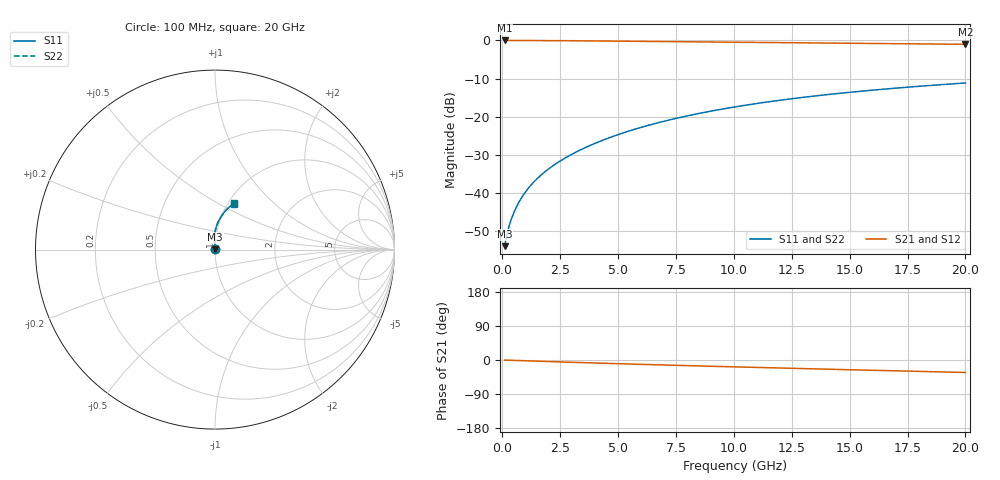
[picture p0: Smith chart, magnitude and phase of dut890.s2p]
! Touchstone file exported from HFSS 2024.1.0
!  File:  C:/UserFiles/LocalFiles/RDL_TSV_Batchsim/temp_RDL_top_890_1779857194.aedt
!  Generated:  12:48:18 PM May 27, 2026
!  Design:  RDL_top
!  Project:  temp_RDL_top_890_1779857194
!  Setup:  Setup1
!  Solution:  Sweep
! Variables:
!  dtsv = 10.80580581um
!  hbump = 3um
!  htsv = 70.97um
!  ldown = 100um
!  lrdl = 469.64um
!  p = 40
!  p1 = 55.84um
!  rhole = 1um
!  t = 450um
!  tdown = 3.915915916um
!  trdl = 4.03um
!  wdown = 15.38538539um
!  wrdl = 29.26um
# GHz S MA R 50.000000
! Terminal data exported
! Port[1] = Box2_T1
! Port[2] = Box2_T2
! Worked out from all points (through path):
!   200 points, 100 MHz to 20 GHz, reference 50 ohm
!   highest |S21| = -0.01 dB at 100 MHz (marker M1); lowest = -1.0 dB at 20 GHz (marker M2)
!   group delay of S21, straight-line fit = 4.49 ps
!   lowest |S11| = -53.8 dB at 100 MHz (marker M3), VSWR 1.00, Z = 50.2 + j0.12 ohm
!   |S11| at or under -10 dB: start of sweep to end of sweep
!   |S22| runs from -53.8 to -11.1 dB; largest |S21 - S12| = 4.1e-15
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0.1  0.002032 35.9  0.9983 -0.2  0.9983 -0.2  0.002032 35.9
! Gamma 0 0 0 0
! Port Impedance 50 0 50 0
0.2  0.002883 52.1  0.9982 -0.4  0.9982 -0.4  0.002883 52.1
0.3  0.003774 60.5  0.998 -0.6  0.998 -0.6  0.003774 60.5
0.4  0.004673 66.0  0.9978 -0.8  0.9978 -0.8  0.004673 66.0
0.5  0.005587 70.0  0.9977 -1.0  0.9977 -1.0  0.005587 70.0
0.6  0.006519 73.1  0.9975 -1.3  0.9975 -1.3  0.006519 73.1
0.8  0.008431 77.6  0.9972 -1.7  0.9972 -1.7  0.008431 77.6
1.1  0.01139 81.8  0.9966 -2.3  0.9966 -2.3  0.01139 81.9
1.3  0.01342 83.8  0.9961 -2.7  0.9961 -2.7  0.01342 83.8
1.6  0.01654 86.1  0.9953 -3.3  0.9953 -3.3  0.01654 86.1
2.1  0.02194 88.6  0.9935 -4.3  0.9935 -4.3  0.02194 88.7
2.7  0.02877 90.6  0.991 -5.5  0.991 -5.5  0.02878 90.6
3.5  0.0385 92.1  0.9869 -7.0  0.9869 -7.0  0.03851 92.1
4.2  0.04757 92.7  0.9829 -8.3  0.9829 -8.3  0.04758 92.7
5  0.05851 92.7  0.9779 -9.8  0.9779 -9.8  0.05854 92.7
6.8  0.08483 91.2  0.9664 -12.9  0.9664 -12.9  0.08487 91.2
8.4  0.1093 88.8  0.9561 -15.5  0.9561 -15.5  0.1094 88.8
10.1  0.1357 85.8  0.9457 -18.3  0.9457 -18.3  0.1358 85.8
11.7  0.1603 82.8  0.9362 -20.7  0.9362 -20.7  0.1604 82.8
13.4  0.186 79.6  0.9263 -23.3  0.9263 -23.3  0.1861 79.6
16.7  0.2334 73.5  0.9076 -28.2  0.9076 -28.2  0.2336 73.6
20  0.2772 67.8  0.8891 -32.9  0.8891 -32.9  0.2774 67.8
